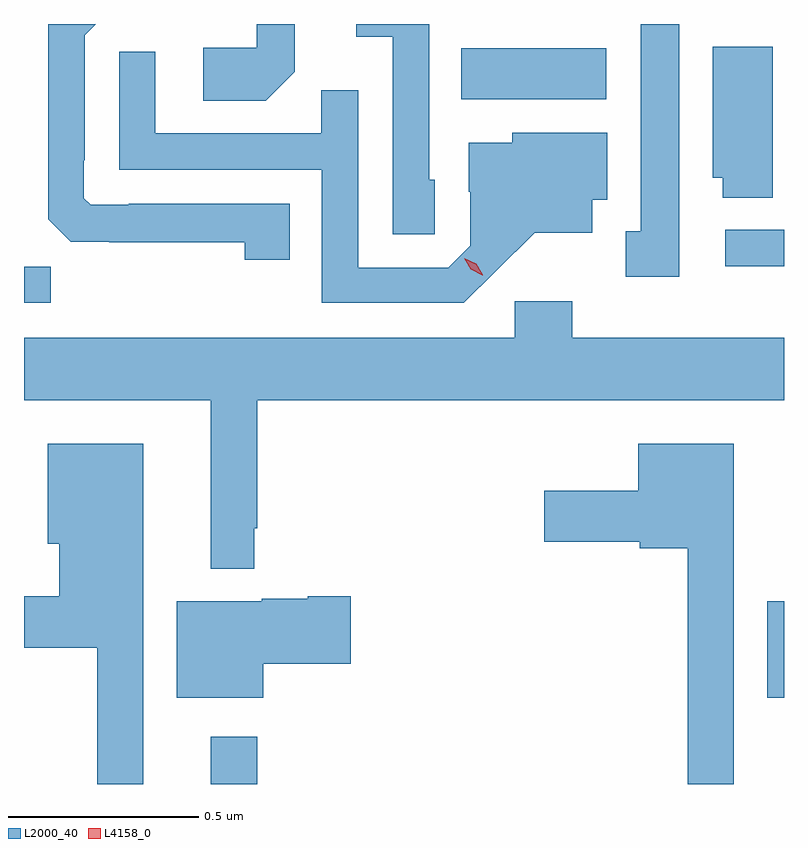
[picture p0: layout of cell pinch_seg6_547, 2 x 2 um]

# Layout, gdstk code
import gdstk
lib = gdstk.Library(unit=1e-6, precision=1e-09)
def R(c, l, rs):  # rectangles x0, y0, x1, y1
    for r in rs: c.add(gdstk.rectangle(r[:2], r[2:], *l))
def P(c, l, *ps):  # polygons
    for p in ps: c.add(gdstk.Polygon(p, *l))
L2000_40 = (2000, 40)
L4158_0 = (4158, 0)

pinch_seg6_547 = lib.new_cell('pinch_seg6_547')
R(pinch_seg6_547, L2000_40, [(766.523,939.666,766.645,939.79), (767.987,939.893,768.031,940.147), (766.031,940.932,766.101,941.027), (767.877,941.028,768.031,941.124), (767.182,941.468,767.563,941.602)])
P(pinch_seg6_547, L2000_40, [(767.112,941.256),(767.097,941.256),(767.097,941.666),(766.905,941.666),(766.905,941.633),(767.001,941.633),(767.001,941.113),(767.112,941.113)],
  [(766.73,941.193),(766.306,941.193),(766.306,941.19),(766.206,941.19),(766.188,941.208),(766.188,941.308),(766.191,941.308),(766.191,941.637),(766.22,941.666),(766.095,941.666),(766.095,941.152),(766.154,941.093),(766.255,941.093),(766.255,941.092),(766.612,941.092),(766.612,941.046),(766.73,941.046)],
  [(766.743,941.54),(766.743,941.666),(766.644,941.666),(766.644,941.604),(766.503,941.604),(766.503,941.464),(766.667,941.464)],
  [(767.755,941.666),(767.654,941.666),(767.654,941.121),(767.615,941.121),(767.615,941.001),(767.755,941.001)],
  [(768.001,941.606),(767.843,941.606),(767.843,941.262),(767.87,941.262),(767.87,941.209),(768.001,941.209)],
  [(767.272,941.015),(767.375,941.117),(767.527,941.117),(767.527,941.204),(767.566,941.204),(767.566,941.38),(767.316,941.38),(767.316,941.353),(767.201,941.353),(767.201,941.224),(767.205,941.224),(767.205,941.082),(767.148,941.025),(766.911,941.025),(766.911,941.492),(766.813,941.492),(766.813,941.379),(766.377,941.379),(766.377,941.593),(766.281,941.593),(766.281,941.283),(766.815,941.283),(766.815,940.932),(767.188,940.932)],
  [(766.637,940.339),(766.645,940.339),(766.645,940.676),(768.031,940.676),(768.031,940.84),(767.474,940.84),(767.474,940.936),(767.322,940.936),(767.322,940.84),(766.031,940.84),(766.031,940.676),(766.523,940.676),(766.523,940.232),(766.637,940.232)],
  [(766.345,940.561),(766.094,940.561),(766.094,940.298),(766.124,940.298),(766.124,940.16),(766.031,940.16),(766.031,940.024),(766.224,940.024),(766.224,939.666),(766.345,939.666)],
  [(767.899,940.561),(767.648,940.561),(767.648,940.438),(767.4,940.438),(767.4,940.304),(767.652,940.304),(767.652,940.286),(767.778,940.286),(767.778,939.666),(767.899,939.666)],
  [(766.66,939.982),(766.891,939.982),(766.891,940.16),(766.778,940.16),(766.778,940.153),(766.656,940.153),(766.656,940.147),(766.433,940.147),(766.433,939.893),(766.66,939.893)])
P(pinch_seg6_547, L4158_0, [(767.237,941.005),(767.207,941.021),(767.19,941.05),(767.19,941.05),(767.19,941.05),(767.221,941.035),(767.238,941.006),(767.238,941.005)])

lib.write_gds('pinch_seg6_547.gds')
